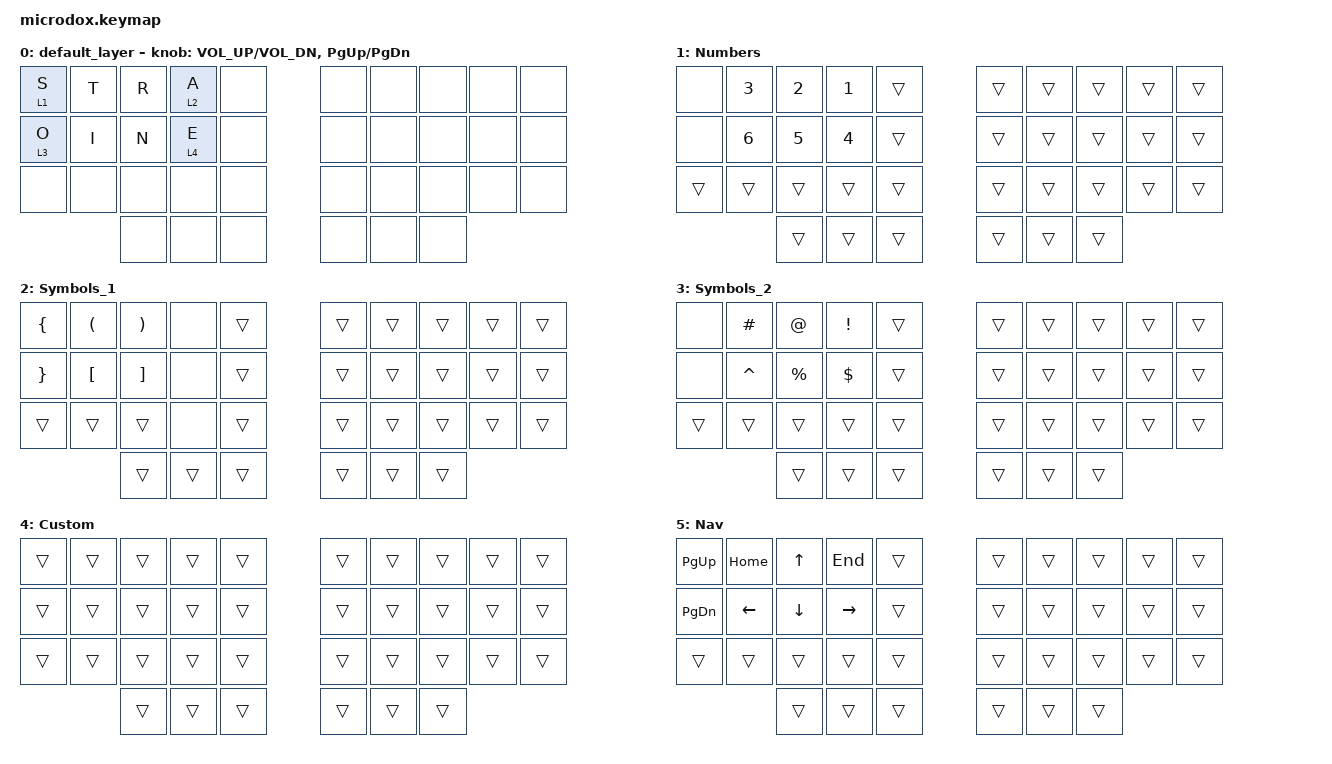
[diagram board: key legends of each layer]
/*
 * Copyright (c) 2020 The ZMK Contributors
 *
 * SPDX-License-Identifier: MIT
 */

#include <behaviors.dtsi>
#include <dt-bindings/zmk/keys.h>
#include <dt-bindings/zmk/keys.h>

#define BASE 0
#define NAV  1
#define SYM  2
#define NUM  3
#define GAMING 4

/ {
    macros {
    };

    combos {
        compatible = "zmk,combos";

        combo_b {
            bindings = <&kp B>;
            key-positions = <13 10>;
            timeout-ms = <175>;
            layers = <0>;
        };

        combo_c {
            bindings = <&kp C>;
            key-positions = <13 12>;
            timeout-ms = <175>;
            layers = <0>;
        };

        combo_n {
            bindings = <&kp Y>;
            key-positions = <11 10>;
            timeout-ms = <175>;
            layers = <0>;
        };

        combo_f {
            bindings = <&kp F>;
            key-positions = <3 2>;
            timeout-ms = <175>;
            layers = <0>;
        };

        combo_g {
            bindings = <&kp G>;
            key-positions = <2 1>;
            timeout-ms = <175>;
            layers = <0>;
        };

        combo_u {
            bindings = <&kp U>;
            key-positions = <11 12>;
            timeout-ms = <175>;
            layers = <0>;
        };

        combo_h {
            bindings = <&kp H>;
            key-positions = <13 11>;
            timeout-ms = <175>;
            layers = <0>;
        };

        combo_v {
            bindings = <&kp V>;
            key-positions = <2 0>;
            timeout-ms = <175>;
            layers = <0>;
        };

        combo_j {
            bindings = <&kp J>;
            key-positions = <0 1>;
            timeout-ms = <175>;
            layers = <0>;
        };

        combo_w {
            bindings = <&kp W>;
            key-positions = <3 0>;
            timeout-ms = <175>;
            layers = <0>;
        };

        combo_k {
            bindings = <&kp K>;
            key-positions = <12 10>;
            timeout-ms = <175>;
            layers = <0>;
        };

        combo_period {
            bindings = <&kp PERIOD>;
            key-positions = <3 12>;
            timeout-ms = <175>;
            layers = <0>;
        };

        combo_comma {
            bindings = <&kp COMMA>;
            key-positions = <3 11>;
            timeout-ms = <175>;
            layers = <0>;
        };

        combo_slash {
            bindings = <&kp SLASH>;
            key-positions = <10 3>;
            timeout-ms = <175>;
            layers = <0>;
        };

        combo_exclamation {
            bindings = <&kp EXCL>;
            key-positions = <1 11>;
            timeout-ms = <175>;
            layers = <0>;
        };

        combo_seven {
            bindings = <&kp N7>;
            key-positions = <3 2>;
            timeout-ms = <175>;
            layers = <1>;
        };

        combo_eight {
            bindings = <&kp N8>;
            key-positions = <2 1>;
            timeout-ms = <175>;
            layers = <1>;
        };

        combo_nine {
            bindings = <&kp N9>;
            key-positions = <13 12>;
            timeout-ms = <175>;
            layers = <1>;
        };

        combo_zero {
            bindings = <&kp N0>;
            key-positions = <12 11>;
            timeout-ms = <175>;
            layers = <1>;
        };

        combo_enter {
            bindings = <&kp ENTER>;
            key-positions = <3 13>;
            timeout-ms = <175>;
        };

        combo_control {
            bindings = <&sk LCTRL>;
            key-positions = <0 13>;
            timeout-ms = <175>;
        };

        combo_gui {
            bindings = <&sk LGUI>;
            key-positions = <0 12>;
            timeout-ms = <175>;
        };

        new_combo {
            bindings = <&sk LALT>;
            key-positions = <0 11>;
            timeout-ms = <175>;
        };

        combo_backspace {
            bindings = <&kp BACKSPACE>;
            key-positions = <2 13>;
            timeout-ms = <175>;
        };

        combo_delete {
            bindings = <&kp DEL>;
            key-positions = <2 11>;
            timeout-ms = <175>;
        };

        combo_shift_lock {
            bindings = <&kt LSHFT>;
            key-positions = <2 12>;
            timeout-ms = <175>;
        };
        combolt {
            bindings = <&kp LESS_THAN>;
            key-positions = <0 1>;
            timeout-ms = <175>;
            layers = <2>;
        };

        combogt {
            bindings = <&kp GREATER_THAN>;
            key-positions = <1 2>;
            timeout-ms = <175>;
            layers = <2>;
        };

        combo_esc {
            bindings = <&kp ESC>;
            key-positions = <3 2 10>;
            timeout-ms = <175>;
        };

        combo_layer_navigation {
            bindings = <&tog 5>;
            key-positions = <11 2 13>;
            timeout-ms = <175>;
        };

        combo_m {
            bindings = <&kp M>;
            key-positions = <12 11 10>;
            timeout-ms = <175>;
            layers = <0>;
        };

        combo_d {
            bindings = <&kp D>;
            key-positions = <3 2 1>;
            timeout-ms = <175>;
            layers = <0>;
        };

        combo_p {
            bindings = <&kp P>;
            key-positions = <11 10 13>;
            timeout-ms = <175>;
            layers = <0>;
        };

        combo_q {
            bindings = <&kp Q>;
            key-positions = <3 1 0>;
            timeout-ms = <175>;
            layers = <0>;
        };

        combo_x {
            bindings = <&kp X>;
            key-positions = <2 1 0>;
            timeout-ms = <175>;
            layers = <0>;
        };

        combo_l {
            bindings = <&kp L>;
            key-positions = <13 12 11>;
            timeout-ms = <175>;
            layers = <0>;
        };

        combo_single_quote {
            bindings = <&kp SQT>;
            key-positions = <3 12 11>;
            timeout-ms = <175>;
            layers = <0>;
        };

        combo_tab {
            bindings = <&kp TAB>;
            key-positions = <3 2 1 10>;
            timeout-ms = <175>;
        };

        combo_space {
            bindings = <&kp SPACE>;
            key-positions = <10 11 12 13>;
            timeout-ms = <175>;
        };

        combo_shift {
            bindings = <&sk LSHFT>;
            key-positions = <2 1 0 13>;
            timeout-ms = <175>;
        };

        combo_z {
            bindings = <&kp Z>;
            key-positions = <3 2 1 0>;
            timeout-ms = <175>;
            layers = <0>;
        };

        combo_caps_lock {
            bindings = <&kp CAPS>;
            key-positions = <3 12 11 10>;
            timeout-ms = <175>;
            layers = <0>;
        };

        combo_qmark {
            bindings = <&kp QUESTION>;
            key-positions = <10 1 3>;
            timeout-ms = <175>;
            layers = <0>;
        };

        combo_semi {
            bindings = <&kp SEMICOLON>;
            key-positions = <10 1>;
            timeout-ms = <175>;
            layers = <0>;
        };

        combo_colon {
            bindings = <&kp COLON>;
            key-positions = <10 2>;
            timeout-ms = <175>;
            layers = <0>;
        };

        
    };

    keymap {
        compatible = "zmk,keymap";

        default_layer {
            // -----------------------------------------------------------------------------------------
            // |  Q  |  W  |  E  |  R  |  T   |   |  Y  |  U   |  I  |  O  |  P  |
            // |  A  |  S  |  D  |  F  |  G   |   |  H  |  J   |  K  |  L  |  ;  |
            // |  Z  |  X  |  C  |  V  |  B   |   |  N  |  M   |  ,  |  .  |  /  |
            //             | GUI | NAV | TAB  |   | SPC | SYM  | ALT |

            bindings = <
 &lt 1 S   &kp T   &kp R  &lt 2 A   &none   &none   &none   &none   &none   &none
 &lt 3 O   &kp I   &kp N  &lt 4 E   &none   &none   &none   &none   &none   &none
   &none   &none   &none    &none   &none   &none   &none   &none   &none   &none
                   &none    &none   &none   &none   &none   &none
            >;

            sensor-bindings = <&inc_dec_kp C_VOL_UP C_VOL_DN &inc_dec_kp PG_UP PG_DN>;
        };

        Numbers {
            bindings = <
  &none  &kp NUMBER_3  &kp NUMBER_2  &kp NUMBER_1  &trans  &trans  &trans  &trans  &trans  &trans
  &none  &kp NUMBER_6  &kp NUMBER_5  &kp NUMBER_4  &trans  &trans  &trans  &trans  &trans  &trans
 &trans        &trans        &trans        &trans  &trans  &trans  &trans  &trans  &trans  &trans
                             &trans        &trans  &trans  &trans  &trans  &trans
            >;
        };

        Symbols_1 {
            bindings = <
 &kp LBRC  &kp LPAR           &kp RPAR   &none  &trans  &trans  &trans  &trans  &trans  &trans
 &kp RBRC  &kp LBKT  &kp RIGHT_BRACKET   &none  &trans  &trans  &trans  &trans  &trans  &trans
   &trans    &trans             &trans   &none  &trans  &trans  &trans  &trans  &trans  &trans
                                &trans  &trans  &trans  &trans  &trans  &trans
            >;
        };

        Symbols_2 {
            bindings = <
  &none   &kp HASH       &kp AT  &kp EXCLAMATION  &trans  &trans  &trans  &trans  &trans  &trans
  &none  &kp CARET  &kp PERCENT       &kp DOLLAR  &trans  &trans  &trans  &trans  &trans  &trans
 &trans     &trans       &trans           &trans  &trans  &trans  &trans  &trans  &trans  &trans
                         &trans           &trans  &trans  &trans  &trans  &trans
            >;
        };

        Custom {
            bindings = <
 &trans  &trans  &trans  &trans  &trans  &trans  &trans  &trans  &trans  &trans
 &trans  &trans  &trans  &trans  &trans  &trans  &trans  &trans  &trans  &trans
 &trans  &trans  &trans  &trans  &trans  &trans  &trans  &trans  &trans  &trans
                 &trans  &trans  &trans  &trans  &trans  &trans
            >;
        };

        Nav {
            bindings = <
   &kp PAGE_UP  &kp HOME    &kp UP    &kp END  &trans  &trans  &trans  &trans  &trans  &trans
 &kp PAGE_DOWN  &kp LEFT  &kp DOWN  &kp RIGHT  &trans  &trans  &trans  &trans  &trans  &trans
        &trans    &trans    &trans     &trans  &trans  &trans  &trans  &trans  &trans  &trans
                            &trans     &trans  &trans  &trans  &trans  &trans
            >;
        };

        // This layer is unreachable until "tri layer state" is sorted out.
        // Leaving it here for completeness.
    };
};
